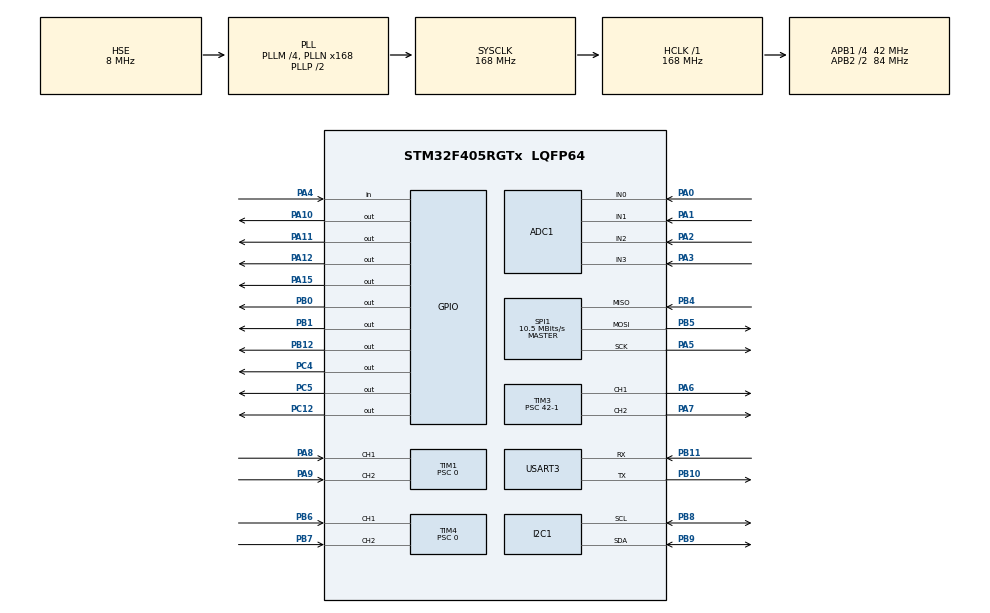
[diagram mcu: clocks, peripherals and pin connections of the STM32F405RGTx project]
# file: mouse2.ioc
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ADC1.Channel-0\#ChannelRegularConversion=ADC_CHANNEL_0
ADC1.NbrOfConversionFlag=1
ADC1.Rank-0\#ChannelRegularConversion=1
ADC1.SamplingTime-0\#ChannelRegularConversion=ADC_SAMPLETIME_3CYCLES
ADC1.master=1
I2C1.I2C_Mode=I2C_Fast
I2C1.NoStretchMode=I2C_NOSTRETCH_ENABLE
I2C1.OwnAddress=0x64
Mcu.Family=STM32F4
Mcu.Name=STM32F405RGTx
Mcu.Package=LQFP64
NVIC.I2C1_ER_IRQn=true\:0\:0\:false\:false\:true\:true\:true
NVIC.I2C1_EV_IRQn=true\:0\:0\:false\:false\:true\:true\:true
NVIC.PriorityGroup=NVIC_PRIORITYGROUP_4
NVIC.TIM6_DAC_IRQn=true\:0\:0\:false\:false\:true\:true\:true
NVIC.TIM7_IRQn=true\:0\:0\:false\:false\:true\:true\:true
PA0-WKUP.Signal=ADCx_IN0
PA1.Signal=ADCx_IN1
PA10.Signal=GPIO_Output
PA11.Signal=GPIO_Output
PA12.Signal=GPIO_Output
PA13.Mode=Trace_Asynchronous_SW
PA13.Signal=SYS_JTMS-SWDIO
PA14.Mode=Trace_Asynchronous_SW
PA14.Signal=SYS_JTCK-SWCLK
PA15.Signal=GPIO_Output
PA2.Signal=ADCx_IN2
PA3.Signal=ADCx_IN3
PA4.Signal=GPIO_Input
PA5.Mode=Full_Duplex_Master
PA5.Signal=SPI1_SCK
PA6.Signal=S_TIM3_CH1
PA7.Signal=S_TIM3_CH2
PA8.Signal=S_TIM1_CH1
PA9.Signal=S_TIM1_CH2
PB0.Signal=GPIO_Output
PB1.Signal=GPIO_Output
PB10.Mode=Asynchronous
PB10.Signal=USART3_TX
PB11.Mode=Asynchronous
PB11.Signal=USART3_RX
PB12.Signal=GPIO_Output
PB3.Mode=Trace_Asynchronous_SW
PB3.Signal=SYS_JTDO-SWO
PB4.Mode=Full_Duplex_Master
PB4.Signal=SPI1_MISO
PB5.Mode=Full_Duplex_Master
PB5.Signal=SPI1_MOSI
PB6.Signal=S_TIM4_CH1
PB7.Signal=S_TIM4_CH2
PB8.Mode=I2C
PB8.Signal=I2C1_SCL
PB9.Mode=I2C
PB9.Signal=I2C1_SDA
PC12.Signal=GPIO_Output
PC14-OSC32_IN.Mode=LSE-External-Oscillator
PC14-OSC32_IN.Signal=RCC_OSC32_IN
PC15-OSC32_OUT.Mode=LSE-External-Oscillator
PC15-OSC32_OUT.Signal=RCC_OSC32_OUT
PC4.Signal=GPIO_Output
PC5.Signal=GPIO_Output
PH0-OSC_IN.Mode=HSE-External-Oscillator
PH0-OSC_IN.Signal=RCC_OSC_IN
PH1-OSC_OUT.Mode=HSE-External-Oscillator
PH1-OSC_OUT.Signal=RCC_OSC_OUT
ProjectManager.HeapSize=0x200
ProjectManager.StackSize=0x400
ProjectManager.TargetToolchain=Makefile
RCC.48MHZClocksFreq_Value=84000000
RCC.AHBFreq_Value=168000000
RCC.APB1CLKDivider=RCC_HCLK_DIV4
RCC.APB1Freq_Value=42000000
RCC.APB1TimFreq_Value=84000000
RCC.APB2CLKDivider=RCC_HCLK_DIV2
RCC.APB2Freq_Value=84000000
RCC.APB2TimFreq_Value=168000000
RCC.CortexFreq_Value=168000000
RCC.HCLKFreq_Value=168000000
RCC.HSE_VALUE=8000000
RCC.HSI_VALUE=16000000
RCC.PLLM=4
RCC.PLLN=168
RCC.PLLSourceVirtual=RCC_PLLSOURCE_HSE
RCC.SYSCLKFreq_VALUE=168000000
RCC.SYSCLKSource=RCC_SYSCLKSOURCE_PLLCLK
RCC.VCOOutputFreq_Value=336000000
SH.ADCx_IN0.0=ADC1_IN0,IN0
SH.ADCx_IN1.0=ADC1_IN1,IN1
SH.ADCx_IN2.0=ADC1_IN2,IN2
SH.ADCx_IN3.0=ADC1_IN3,IN3
SH.S_TIM1_CH1.0=TIM1_CH1,Encoder_Interface
SH.S_TIM1_CH2.0=TIM1_CH2,Encoder_Interface
SH.S_TIM3_CH1.0=TIM3_CH1,PWM Generation1 CH1
SH.S_TIM3_CH2.0=TIM3_CH2,PWM Generation2 CH2
SH.S_TIM4_CH1.0=TIM4_CH1,Encoder_Interface
SH.S_TIM4_CH2.0=TIM4_CH2,Encoder_Interface
SPI1.BaudRatePrescaler=SPI_BAUDRATEPRESCALER_8
SPI1.CLKPhase=SPI_PHASE_2EDGE
SPI1.CLKPolarity=SPI_POLARITY_HIGH
SPI1.CalculateBaudRate=10.5 MBits/s
SPI1.Direction=SPI_DIRECTION_2LINES
SPI1.Mode=SPI_MODE_MASTER
SPI1.VirtualType=VM_MASTER
TIM1.EncoderMode=TIM_ENCODERMODE_TI12
TIM1.Period=65535
TIM1.Prescaler=0
TIM3.Channel-PWM\ Generation1\ CH1=TIM_CHANNEL_1
TIM3.Channel-PWM\ Generation2\ CH2=TIM_CHANNEL_2
TIM3.Period=1000 - 1
TIM3.Prescaler=42-1
TIM4.EncoderMode=TIM_ENCODERMODE_TI12
TIM4.Period=65535
TIM4.Prescaler=0
TIM6.Period=1000 - 1
TIM6.Prescaler=84 - 1
TIM7.Period=250 - 1
TIM7.Prescaler=84-1
USART3.VirtualMode=VM_ASYNC
VP_TIM3_VS_ClockSourceINT.Mode=Internal
VP_TIM6_VS_ClockSourceINT.Mode=Enable_Timer
VP_TIM7_VS_ClockSourceINT.Mode=Enable_Timer
board=custom

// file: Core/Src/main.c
/* USER CODE BEGIN Header */
/**
 ******************************************************************************
 * @file           : main.c
 * @brief          : Main program body
 ******************************************************************************
 * @attention
 *
 * <h2><center>&copy; Copyright (c) 2021 STMicroelectronics.
 * All rights reserved.</center></h2>
 *
 * This software component is licensed by ST under BSD 3-Clause license,
 * the "License"; You may not use this file except in compliance with the
 * License. You may obtain a copy of the License at:
 *                        opensource.org/licenses/BSD-3-Clause
 *
 ******************************************************************************
 */
/* USER CODE END Header */

#include "main.h"

/* USER CODE BEGIN Includes */
#include <controllers/pid.h>
#include <delay_us.h>
#include <drivers/encoder.h>
#include <drivers/gyro.h>
#include <drivers/motor.h>
#include <drivers/sensor.h>
#include <global.h>
#include <mouse.h>
#include <stdio.h>
#include <stdlib.h>
// #define ARM_MATH_CM4
#include <arm_math.h>

#include "controllers/motion.h"
#include "maze/agent.h"
#include "maze/maze.h"
#include "maze/maze_data.h"

/* USER CODE END Includes */

ADC_HandleTypeDef hadc1;

I2C_HandleTypeDef hi2c1;

SPI_HandleTypeDef hspi1;

TIM_HandleTypeDef htim1;
TIM_HandleTypeDef htim3;
TIM_HandleTypeDef htim4;
TIM_HandleTypeDef htim6;
TIM_HandleTypeDef htim7;

UART_HandleTypeDef huart3;

void SystemClock_Config(void);
static void MX_GPIO_Init(void);
static void MX_ADC1_Init(void);
static void MX_I2C1_Init(void);
static void MX_TIM1_Init(void);
static void MX_TIM3_Init(void);
static void MX_USART3_UART_Init(void);
static void MX_SPI1_Init(void);
static void MX_TIM4_Init(void);
static void MX_TIM6_Init(void);
static void MX_TIM7_Init(void);
/* USER CODE BEGIN PFP */

extern void initialise_monitor_handles(void);
extern uint32_t m5timerCount;
extern m5Mouse mouse;
extern uint8_t m5transferRequested;
extern uint8_t m5transferDirection;
extern uint8_t m5i2cbuffer[256];

/* USER CODE END PFP */

int main(void) {
  /* USER CODE BEGIN 1 */
  // #ifdef DEBUG
  // initialise_monitor_handles();
  // #endif

  /* USER CODE END 1 */

  /* MCU Configuration--------------------------------------------------------*/

  /* Reset of all peripherals, Initializes the Flash interface and the Systick.
   */
  HAL_Init();

  /* Configure the system clock */
  SystemClock_Config();

  /* Initialize all configured peripherals */
  MX_GPIO_Init();
  MX_ADC1_Init();
  MX_I2C1_Init();
  MX_TIM1_Init();
  MX_TIM3_Init();
  MX_USART3_UART_Init();
  MX_SPI1_Init();
  MX_TIM4_Init();
  MX_TIM6_Init();
  MX_TIM7_Init();
  /* USER CODE BEGIN 2 */

  // 開始
  m5main_init_mouse();
  m5mouse_start(mouse);

  // 割り込みハンドラの開始
  HAL_TIM_Base_Start_IT(&htim7);
  HAL_TIM_Base_Start_IT(&htim6);
  m5Maze maze = m5maze_constructor();
  m5MazeAgent agent = m5mazeagent_constructor(maze, mouse);
  HAL_Delay(500);
  // m5mouse_slalom(mouse, 90, mouse->cap_velocity.v, mouse->cap_accel.alpha, mouse->cap_velocity.omega);

  /* USER CODE END 2 */

  /* Infinite loop */
  /* USER CODE BEGIN WHILE */
  while (1)

  {
    // printf("transfer complete. count: %d\n", count);
    HAL_StatusTypeDef status =
        HAL_I2C_Slave_Receive(&hi2c1, m5i2cbuffer, 1, 200);
    if (status == HAL_OK) {
      switch (m5i2cbuffer[0]) {
        case M5_REGISTER_WHO_AM_I:
          m5i2cbuffer[0] = M5_VALUE_WHO_AM_I;
          HAL_I2C_Slave_Transmit(&hi2c1, m5i2cbuffer, 1, 100);
          break;
        case M5_REGISTER_TEST:
          m5i2cbuffer[0] = m5i2c_count++;
          HAL_I2C_Slave_Transmit(&hi2c1, m5i2cbuffer, 1, 100);
          // m5wallsensor_calibrate(mouse->sensor);
          HAL_Delay(300);
          m5gyro_calibrate(mouse->gyro);
          HAL_Delay(200);
          // m5agent_search_run(agent, (m5Index){7, 8});
          float v = mouse->cap_velocity.v;
          /*
          m5mouse_straight(mouse, 60, v, 0);
          m5mouse_spin(mouse, 30);
          m5mouse_spin(mouse, -30);
          */
          // m5mouse_slalom(mouse, -90, M5_CELL_WIDTH * 0.5, v, mouse->cap_accel.alpha, mouse->cap_velocity.omega);
          // ouse_slalom(mouse, -90, M5_CELL_WIDTH * 0.5, v, mouse->cap_accel.alpha, mouse->cap_velocity.omega);
          m5mouse_straight(mouse, 90, 0, v, v);
          // m5mouse_straight(mouse, 90, v, v, 0);
          // m5mouse_slalom(mouse, -90, M5_CELL_WIDTH * 0.5, v, mouse->cap_accel.alpha, mouse->cap_velocity.omega);
          // m5mouse_slalom(mouse, 90, v, mouse->cap_accel.alpha, mouse->cap_velocity.omega);
          for (int i = 0; i < 3; i++) {
            m5mouse_straight(mouse, 180, v, v, v);
            // m5mouse_straight(mouse, 90, v, v, 0);
            // m5mouse_spin(mouse, 90);
            // m5mouse_straight(mouse, 90, 0, v, v);
            m5mouse_slalom(mouse, -90, M5_CELL_WIDTH * 0.5, v, mouse->cap_accel.alpha, mouse->cap_velocity.omega);
          }
          m5mouse_straight(mouse, 180, v, v, v);
          m5mouse_straight(mouse, 90, v, v, 0);
          m5mouse_spin(mouse, -90);
          HAL_Delay(300);
          break;
        case M5_REGISTER_CALIBRATE:
          // TODO:
          m5wallsensor_calibrate(mouse->sensor);
          HAL_Delay(300);
          break;
        default:
          m5i2cbuffer[0] = 0xFF;
      }
      while (HAL_I2C_GetState(&hi2c1) != HAL_I2C_STATE_READY)
        ;
    } else {
      // printf("error %d\n", status);
    }
    /* USER CODE END WHILE */

  }
}

void SystemClock_Config(void) {
  RCC_OscInitTypeDef RCC_OscInitStruct = {0};
  RCC_ClkInitTypeDef RCC_ClkInitStruct = {0};

  /** Configure the main internal regulator output voltage
   */
  __HAL_RCC_PWR_CLK_ENABLE();
  __HAL_PWR_VOLTAGESCALING_CONFIG(PWR_REGULATOR_VOLTAGE_SCALE1);
  /** Initializes the CPU, AHB and APB busses clocks
   */
  RCC_OscInitStruct.OscillatorType = RCC_OSCILLATORTYPE_HSE;
  RCC_OscInitStruct.HSEState = RCC_HSE_ON;
  RCC_OscInitStruct.PLL.PLLState = RCC_PLL_ON;
  RCC_OscInitStruct.PLL.PLLSource = RCC_PLLSOURCE_HSE;
  RCC_OscInitStruct.PLL.PLLM = 4;
  RCC_OscInitStruct.PLL.PLLN = 168;
  RCC_OscInitStruct.PLL.PLLP = RCC_PLLP_DIV2;
  RCC_OscInitStruct.PLL.PLLQ = 4;
  if (HAL_RCC_OscConfig(&RCC_OscInitStruct) != HAL_OK) {
    Error_Handler();
  }
  /** Initializes the CPU, AHB and APB busses clocks
   */
  RCC_ClkInitStruct.ClockType = RCC_CLOCKTYPE_HCLK | RCC_CLOCKTYPE_SYSCLK |
                                RCC_CLOCKTYPE_PCLK1 | RCC_CLOCKTYPE_PCLK2;
  RCC_ClkInitStruct.SYSCLKSource = RCC_SYSCLKSOURCE_PLLCLK;
  RCC_ClkInitStruct.AHBCLKDivider = RCC_SYSCLK_DIV1;
  RCC_ClkInitStruct.APB1CLKDivider = RCC_HCLK_DIV4;
  RCC_ClkInitStruct.APB2CLKDivider = RCC_HCLK_DIV2;

  if (HAL_RCC_ClockConfig(&RCC_ClkInitStruct, FLASH_LATENCY_5) != HAL_OK) {
    Error_Handler();
  }
}

static void MX_ADC1_Init(void) {

  ADC_ChannelConfTypeDef sConfig = {0};

  /** Configure the global features of the ADC (Clock, Resolution, Data
   * Alignment and number of conversion)
   */
  hadc1.Instance = ADC1;
  hadc1.Init.ClockPrescaler = ADC_CLOCK_SYNC_PCLK_DIV4;
  hadc1.Init.Resolution = ADC_RESOLUTION_12B;
  hadc1.Init.ScanConvMode = DISABLE;
  hadc1.Init.ContinuousConvMode = DISABLE;
  hadc1.Init.DiscontinuousConvMode = DISABLE;
  hadc1.Init.ExternalTrigConvEdge = ADC_EXTERNALTRIGCONVEDGE_NONE;
  hadc1.Init.ExternalTrigConv = ADC_SOFTWARE_START;
  hadc1.Init.DataAlign = ADC_DATAALIGN_RIGHT;
  hadc1.Init.NbrOfConversion = 1;
  hadc1.Init.DMAContinuousRequests = DISABLE;
  hadc1.Init.EOCSelection = ADC_EOC_SINGLE_CONV;
  if (HAL_ADC_Init(&hadc1) != HAL_OK) {
    Error_Handler();
  }
  /** Configure for the selected ADC regular channel its corresponding rank in
   * the sequencer and its sample time.
   */
  sConfig.Channel = ADC_CHANNEL_0;
  sConfig.Rank = 1;
  sConfig.SamplingTime = ADC_SAMPLETIME_3CYCLES;
  if (HAL_ADC_ConfigChannel(&hadc1, &sConfig) != HAL_OK) {
    Error_Handler();
  }
}

static void MX_I2C1_Init(void) {

  hi2c1.Instance = I2C1;
  hi2c1.Init.ClockSpeed = 400000;
  hi2c1.Init.DutyCycle = I2C_DUTYCYCLE_2;
  hi2c1.Init.OwnAddress1 = 200;
  hi2c1.Init.AddressingMode = I2C_ADDRESSINGMODE_7BIT;
  hi2c1.Init.DualAddressMode = I2C_DUALADDRESS_DISABLE;
  hi2c1.Init.OwnAddress2 = 0;
  hi2c1.Init.GeneralCallMode = I2C_GENERALCALL_DISABLE;
  hi2c1.Init.NoStretchMode = I2C_NOSTRETCH_ENABLE;
  if (HAL_I2C_Init(&hi2c1) != HAL_OK) {
    Error_Handler();
  }
}

static void MX_SPI1_Init(void) {

  /* SPI1 parameter configuration*/
  hspi1.Instance = SPI1;
  hspi1.Init.Mode = SPI_MODE_MASTER;
  hspi1.Init.Direction = SPI_DIRECTION_2LINES;
  hspi1.Init.DataSize = SPI_DATASIZE_8BIT;
  hspi1.Init.CLKPolarity = SPI_POLARITY_HIGH;
  hspi1.Init.CLKPhase = SPI_PHASE_2EDGE;
  hspi1.Init.NSS = SPI_NSS_SOFT;
  hspi1.Init.BaudRatePrescaler = SPI_BAUDRATEPRESCALER_8;
  hspi1.Init.FirstBit = SPI_FIRSTBIT_MSB;
  hspi1.Init.TIMode = SPI_TIMODE_DISABLE;
  hspi1.Init.CRCCalculation = SPI_CRCCALCULATION_DISABLE;
  hspi1.Init.CRCPolynomial = 10;
  if (HAL_SPI_Init(&hspi1) != HAL_OK) {
    Error_Handler();
  }
}

static void MX_TIM1_Init(void) {

  TIM_Encoder_InitTypeDef sConfig = {0};
  TIM_MasterConfigTypeDef sMasterConfig = {0};

  htim1.Instance = TIM1;
  htim1.Init.Prescaler = 0;
  htim1.Init.CounterMode = TIM_COUNTERMODE_UP;
  htim1.Init.Period = 65535;
  htim1.Init.ClockDivision = TIM_CLOCKDIVISION_DIV1;
  htim1.Init.RepetitionCounter = 0;
  htim1.Init.AutoReloadPreload = TIM_AUTORELOAD_PRELOAD_DISABLE;
  sConfig.EncoderMode = TIM_ENCODERMODE_TI12;
  sConfig.IC1Polarity = TIM_ICPOLARITY_RISING;
  sConfig.IC1Selection = TIM_ICSELECTION_DIRECTTI;
  sConfig.IC1Prescaler = TIM_ICPSC_DIV1;
  sConfig.IC1Filter = 0;
  sConfig.IC2Polarity = TIM_ICPOLARITY_RISING;
  sConfig.IC2Selection = TIM_ICSELECTION_DIRECTTI;
  sConfig.IC2Prescaler = TIM_ICPSC_DIV1;
  sConfig.IC2Filter = 0;
  if (HAL_TIM_Encoder_Init(&htim1, &sConfig) != HAL_OK) {
    Error_Handler();
  }
  sMasterConfig.MasterOutputTrigger = TIM_TRGO_RESET;
  sMasterConfig.MasterSlaveMode = TIM_MASTERSLAVEMODE_DISABLE;
  if (HAL_TIMEx_MasterConfigSynchronization(&htim1, &sMasterConfig) != HAL_OK) {
    Error_Handler();
  }
}

static void MX_TIM3_Init(void) {

  TIM_ClockConfigTypeDef sClockSourceConfig = {0};
  TIM_MasterConfigTypeDef sMasterConfig = {0};
  TIM_OC_InitTypeDef sConfigOC = {0};

  htim3.Instance = TIM3;
  htim3.Init.Prescaler = 42 - 1;
  htim3.Init.CounterMode = TIM_COUNTERMODE_UP;
  htim3.Init.Period = 1000 - 1;
  htim3.Init.ClockDivision = TIM_CLOCKDIVISION_DIV1;
  htim3.Init.AutoReloadPreload = TIM_AUTORELOAD_PRELOAD_DISABLE;
  if (HAL_TIM_Base_Init(&htim3) != HAL_OK) {
    Error_Handler();
  }
  sClockSourceConfig.ClockSource = TIM_CLOCKSOURCE_INTERNAL;
  if (HAL_TIM_ConfigClockSource(&htim3, &sClockSourceConfig) != HAL_OK) {
    Error_Handler();
  }
  if (HAL_TIM_PWM_Init(&htim3) != HAL_OK) {
    Error_Handler();
  }
  sMasterConfig.MasterOutputTrigger = TIM_TRGO_RESET;
  sMasterConfig.MasterSlaveMode = TIM_MASTERSLAVEMODE_DISABLE;
  if (HAL_TIMEx_MasterConfigSynchronization(&htim3, &sMasterConfig) != HAL_OK) {
    Error_Handler();
  }
  sConfigOC.OCMode = TIM_OCMODE_PWM1;
  sConfigOC.Pulse = 0;
  sConfigOC.OCPolarity = TIM_OCPOLARITY_HIGH;
  sConfigOC.OCFastMode = TIM_OCFAST_DISABLE;
  if (HAL_TIM_PWM_ConfigChannel(&htim3, &sConfigOC, TIM_CHANNEL_1) != HAL_OK) {
    Error_Handler();
  }
  if (HAL_TIM_PWM_ConfigChannel(&htim3, &sConfigOC, TIM_CHANNEL_2) != HAL_OK) {
    Error_Handler();
  }
  HAL_TIM_MspPostInit(&htim3);
}

static void MX_TIM4_Init(void) {

  TIM_Encoder_InitTypeDef sConfig = {0};
  TIM_MasterConfigTypeDef sMasterConfig = {0};

  htim4.Instance = TIM4;
  htim4.Init.Prescaler = 0;
  htim4.Init.CounterMode = TIM_COUNTERMODE_UP;
  htim4.Init.Period = 65535;
  htim4.Init.ClockDivision = TIM_CLOCKDIVISION_DIV1;
  htim4.Init.AutoReloadPreload = TIM_AUTORELOAD_PRELOAD_DISABLE;
  sConfig.EncoderMode = TIM_ENCODERMODE_TI12;
  sConfig.IC1Polarity = TIM_ICPOLARITY_RISING;
  sConfig.IC1Selection = TIM_ICSELECTION_DIRECTTI;
  sConfig.IC1Prescaler = TIM_ICPSC_DIV1;
  sConfig.IC1Filter = 0;
  sConfig.IC2Polarity = TIM_ICPOLARITY_RISING;
  sConfig.IC2Selection = TIM_ICSELECTION_DIRECTTI;
  sConfig.IC2Prescaler = TIM_ICPSC_DIV1;
  sConfig.IC2Filter = 0;
  if (HAL_TIM_Encoder_Init(&htim4, &sConfig) != HAL_OK) {
    Error_Handler();
  }
  sMasterConfig.MasterOutputTrigger = TIM_TRGO_RESET;
  sMasterConfig.MasterSlaveMode = TIM_MASTERSLAVEMODE_DISABLE;
  if (HAL_TIMEx_MasterConfigSynchronization(&htim4, &sMasterConfig) != HAL_OK) {
    Error_Handler();
  }
}

static void MX_TIM6_Init(void) {

  TIM_MasterConfigTypeDef sMasterConfig = {0};

  htim6.Instance = TIM6;
  htim6.Init.Prescaler = 84 - 1;
  htim6.Init.CounterMode = TIM_COUNTERMODE_UP;
  htim6.Init.Period = 1000 - 1;
  htim6.Init.AutoReloadPreload = TIM_AUTORELOAD_PRELOAD_DISABLE;
  if (HAL_TIM_Base_Init(&htim6) != HAL_OK) {
    Error_Handler();
  }
  sMasterConfig.MasterOutputTrigger = TIM_TRGO_RESET;
  sMasterConfig.MasterSlaveMode = TIM_MASTERSLAVEMODE_DISABLE;
  if (HAL_TIMEx_MasterConfigSynchronization(&htim6, &sMasterConfig) != HAL_OK) {
    Error_Handler();
  }
}

static void MX_TIM7_Init(void) {

  TIM_MasterConfigTypeDef sMasterConfig = {0};

  htim7.Instance = TIM7;
  htim7.Init.Prescaler = 84 - 1;
  htim7.Init.CounterMode = TIM_COUNTERMODE_UP;
  htim7.Init.Period = 250 - 1;
  htim7.Init.AutoReloadPreload = TIM_AUTORELOAD_PRELOAD_DISABLE;
  if (HAL_TIM_Base_Init(&htim7) != HAL_OK) {
    Error_Handler();
  }
  sMasterConfig.MasterOutputTrigger = TIM_TRGO_RESET;
  sMasterConfig.MasterSlaveMode = TIM_MASTERSLAVEMODE_DISABLE;
  if (HAL_TIMEx_MasterConfigSynchronization(&htim7, &sMasterConfig) != HAL_OK) {
    Error_Handler();
  }
}

static void MX_USART3_UART_Init(void) {

  huart3.Instance = USART3;
  huart3.Init.BaudRate = 115200;
  huart3.Init.WordLength = UART_WORDLENGTH_8B;
  huart3.Init.StopBits = UART_STOPBITS_1;
  huart3.Init.Parity = UART_PARITY_NONE;
  huart3.Init.Mode = UART_MODE_TX_RX;
  huart3.Init.HwFlowCtl = UART_HWCONTROL_NONE;
  huart3.Init.OverSampling = UART_OVERSAMPLING_16;
  if (HAL_UART_Init(&huart3) != HAL_OK) {
    Error_Handler();
  }
}

static void MX_GPIO_Init(void) {
  GPIO_InitTypeDef GPIO_InitStruct = {0};

  /* GPIO Ports Clock Enable */
  __HAL_RCC_GPIOC_CLK_ENABLE();
  __HAL_RCC_GPIOH_CLK_ENABLE();
  __HAL_RCC_GPIOA_CLK_ENABLE();
  __HAL_RCC_GPIOB_CLK_ENABLE();

  /*Configure GPIO pin Output Level */
  HAL_GPIO_WritePin(GPIOC, GPIO_PIN_4 | GPIO_PIN_5 | GPIO_PIN_12,
                    GPIO_PIN_RESET);

  /*Configure GPIO pin Output Level */
  HAL_GPIO_WritePin(GPIOB, GPIO_PIN_0 | GPIO_PIN_1 | GPIO_PIN_12,
                    GPIO_PIN_RESET);

  /*Configure GPIO pin Output Level */
  HAL_GPIO_WritePin(GPIOA,
                    GPIO_PIN_10 | GPIO_PIN_11 | GPIO_PIN_12 | GPIO_PIN_15,
                    GPIO_PIN_RESET);

  /*Configure GPIO pin : PA4 */
  GPIO_InitStruct.Pin = GPIO_PIN_4;
  GPIO_InitStruct.Mode = GPIO_MODE_INPUT;
  GPIO_InitStruct.Pull = GPIO_NOPULL;
  HAL_GPIO_Init(GPIOA, &GPIO_InitStruct);

  /*Configure GPIO pins : PC4 PC5 PC12 */
  GPIO_InitStruct.Pin = GPIO_PIN_4 | GPIO_PIN_5 | GPIO_PIN_12;
  GPIO_InitStruct.Mode = GPIO_MODE_OUTPUT_PP;
  GPIO_InitStruct.Pull = GPIO_NOPULL;
  GPIO_InitStruct.Speed = GPIO_SPEED_FREQ_LOW;
  HAL_GPIO_Init(GPIOC, &GPIO_InitStruct);

  /*Configure GPIO pins : PB0 PB1 PB12 */
  GPIO_InitStruct.Pin = GPIO_PIN_0 | GPIO_PIN_1 | GPIO_PIN_12;
  GPIO_InitStruct.Mode = GPIO_MODE_OUTPUT_PP;
  GPIO_InitStruct.Pull = GPIO_NOPULL;
  GPIO_InitStruct.Speed = GPIO_SPEED_FREQ_LOW;
  HAL_GPIO_Init(GPIOB, &GPIO_InitStruct);

  /*Configure GPIO pins : PA10 PA11 PA12 PA15 */
  GPIO_InitStruct.Pin = GPIO_PIN_10 | GPIO_PIN_11 | GPIO_PIN_12 | GPIO_PIN_15;
  GPIO_InitStruct.Mode = GPIO_MODE_OUTPUT_PP;
  GPIO_InitStruct.Pull = GPIO_NOPULL;
  GPIO_InitStruct.Speed = GPIO_SPEED_FREQ_LOW;
  HAL_GPIO_Init(GPIOA, &GPIO_InitStruct);
}

/* USER CODE BEGIN 4 */
void m5main_init_mouse(void) {
  // DRV8835のモード指定（PHASE/ENBLモード）
  HAL_GPIO_WritePin(GPIOA, GPIO_PIN_12, GPIO_PIN_SET);

  // モータ初期化
  m5TimerConfiguration timerMotorL = malloc(sizeof(m5TimerConfigurationRecord));
  timerMotorL->handler = &htim3;
  timerMotorL->channel = TIM_CHANNEL_1;
  m5Motor motorL = malloc(sizeof(m5MotorRecord));
  motorL->dir_port = GPIOA;
  motorL->dir_pin = GPIO_PIN_10;
  motorL->direction = 0;
  motorL->timer = timerMotorL;
  m5motor_init(motorL);
  mouse->motor_l = motorL;

  m5TimerConfiguration timerMotorR = malloc(sizeof(m5TimerConfigurationRecord));
  timerMotorR->handler = &htim3;
  timerMotorR->channel = TIM_CHANNEL_2;
  m5Motor motorR = malloc(sizeof(m5MotorRecord));
  motorR->dir_port = GPIOA;
  motorR->dir_pin = GPIO_PIN_11;
  motorR->direction = 1;
  motorR->timer = timerMotorR;
  m5motor_init(motorR);
  mouse->motor_r = motorR;

  // IMUの初期化
  HAL_Delay(50);
  m5SPIConfiguration spi = malloc(sizeof(m5SPIConfigurationRecord));
  spi->cs_pin = GPIO_PIN_12;
  spi->cs_port = GPIOC;
  spi->handler = &hspi1;
  m5Gyro gyro = malloc(sizeof(m5GyroRecord));
  gyro->spi = spi;
  m5gyro_init(gyro);
  mouse->gyro = gyro;

  // エンコーダの初期化
  m5Encoder encoderL = malloc(sizeof(m5EncoderRecord));
  m5Encoder encoderR = malloc(sizeof(m5EncoderRecord));
  m5TimerConfiguration timerL = malloc(sizeof(m5TimerConfigurationRecord));
  m5TimerConfiguration timerR = malloc(sizeof(m5TimerConfigurationRecord));
  timerL->handler = &htim1;
  encoderL->timer = timerL;
  encoderL->direction = 1;
  m5encoder_init(encoderL);
  mouse->encoder_l = encoderL;
  timerR->handler = &htim4;
  encoderR->timer = timerR;
  encoderR->direction = 0;
  m5encoder_init(encoderR);
  mouse->encoder_r = encoderR;

  m5AnalogConfiguration adRec_l = malloc(sizeof(m5AnalogConfigurationRecord));
  adRec_l->handler = &hadc1;
  adRec_l->channel = (ADC_ChannelConfTypeDef *)ADC_CHANNEL_1;
  m5Sensor sensor_l = malloc(sizeof(m5SensorRecord));
  sensor_l->analog = adRec_l;
  sensor_l->led_port = GPIOC;
  sensor_l->led_pin = GPIO_PIN_5;
  m5sensor_init(sensor_l);

  m5AnalogConfiguration adRec_fl = malloc(sizeof(m5AnalogConfigurationRecord));
  adRec_fl->handler = &hadc1;
  adRec_fl->channel = (ADC_ChannelConfTypeDef *)ADC_CHANNEL_0;
  m5Sensor sensor_fl = malloc(sizeof(m5SensorRecord));
  sensor_fl->analog = adRec_fl;
  sensor_fl->led_port = GPIOC;
  sensor_fl->led_pin = GPIO_PIN_4;
  m5sensor_init(sensor_fl);

  m5AnalogConfiguration adRec_fr = malloc(sizeof(m5AnalogConfigurationRecord));
  adRec_fr->handler = &hadc1;
  adRec_fr->channel = (ADC_ChannelConfTypeDef *)ADC_CHANNEL_3;
  m5Sensor sensor_fr = malloc(sizeof(m5SensorRecord));
  sensor_fr->analog = adRec_fr;
  sensor_fr->led_port = GPIOB;
  sensor_fr->led_pin = GPIO_PIN_1;
  m5sensor_init(sensor_fr);

  m5AnalogConfiguration adRec_r = malloc(sizeof(m5AnalogConfigurationRecord));
  adRec_r->handler = &hadc1;
  adRec_r->channel = (ADC_ChannelConfTypeDef *)ADC_CHANNEL_2;
  m5Sensor sensor_r = malloc(sizeof(m5SensorRecord));
  sensor_r->analog = adRec_r;
  sensor_r->led_port = GPIOB;
  sensor_r->led_pin = GPIO_PIN_0;
  m5sensor_init(sensor_r);

  m5WallSensor ws =
      m5wallsensor_constructor(sensor_l, sensor_fl, sensor_fr, sensor_r);
  mouse->sensor = ws;

  m5PIDController controller_l =
      m5pid_constructor(M5DEFAULT_PGAIN, M5DEFAULT_IGAIN, M5DEFAULT_DGAIN, M5DEFAULT_SATURATION);
  m5PIDController controller_r =
      m5pid_constructor(M5DEFAULT_PGAIN, M5DEFAULT_IGAIN, M5DEFAULT_DGAIN, M5DEFAULT_SATURATION);
  m5PIDController controller_wall = m5pid_constructor(
      M5DEFAULT_WALL_PGAIN, M5DEFAULT_WALL_IGAIN, M5DEFAULT_WALL_DGAIN, 10);
  mouse->controller_l = controller_l;
  mouse->controller_r = controller_r;
  mouse->controller_wall = controller_wall;
  mouse->motion_queue = m5queue_constructor();

  mouse->current_velocity = (m5Velocity){0, 0};
  mouse->target_velocity = (m5Velocity){0, 0};
  mouse->cap_velocity = (m5Velocity){240, 6 * PI};
  mouse->cap_accel = (m5Accel){600, 8 * PI};
  mouse->position = (m5Position){0, 0};
  mouse->is_wall_adjust_enabled = 0;
  mouse->odometry = m5odometry_constructor(M5_DELTA);
}

/* USER CODE END 4 */

void Error_Handler(void) {
  /* USER CODE BEGIN Error_Handler_Debug */
  /* User can add his own implementation to report the HAL error return state */
  while (1) {
    /* USER CODE END WHILE */

    int i = 0;
    GPIOA->BSRR = GPIO_PIN_15;
    for (i = 0; i < 40000000; i++) {
    }
    GPIOA->BSRR = (uint32_t)GPIO_PIN_15 << 16U;
    for (i = 0; i < 40000000; i++) {
    }
    /* USER CODE BEGIN 3 */
  }

  /* USER CODE END Error_Handler_Debug */
}

#ifdef USE_FULL_ASSERT
/**
 * @brief  Reports the name of the source file and the source line number
 *         where the assert_param error has occurred.
 * @param  file: pointer to the source file name
 * @param  line: assert_param error line source number
 * @retval None
 */
void assert_failed(uint8_t *file, uint32_t line) {
  /* USER CODE BEGIN 6 */
  /* User can add his own implementation to report the file name and line
     number,
     tex: printf("Wrong parameters value: file %s on line %d\r\n", file, line)
   */
  /* USER CODE END 6 */
}
#endif /* USE_FULL_ASSERT */

/************************ (C) COPYRIGHT STMicroelectronics *****END OF FILE****/
